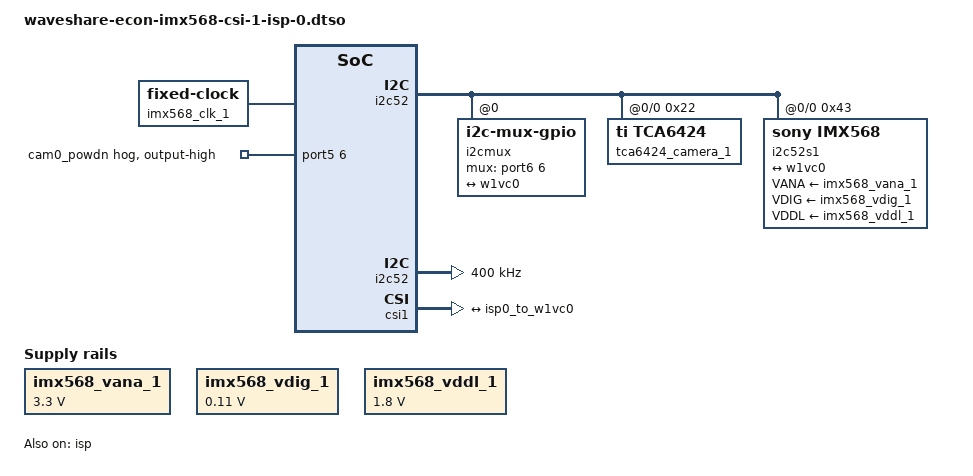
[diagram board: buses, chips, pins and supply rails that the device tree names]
// SPDX-License-Identifier: (GPL-2.0+ OR MIT)
/*
 * Copyright (c) 2025 SiMa ai
 */

/dts-v1/;
/plugin/;

&port5 {
	cam-hog0 {
		gpio-hog;
		/* Set port5 gpio6 to GPIO_ACTIVE_HIGH mode */
		gpios = <6 0>;
		output-high;
		line-name = "cam0_powdn";
	};
};

&i2c52 {
    status = "okay";
    clock-frequency = <400000>;
    #address-cells = <1>;
    #size-cells = <0>;
};

/ {
    fragment@10 {
        target-path = "/"; /* Root node of the base tree */
        __overlay__ {
			imx568_vana_1: csi1_fixedregulator@0 {
				compatible = "regulator-fixed";
				regulator-name = "imx568_vana_1";
				regulator-min-microvolt = <3300000>;
				regulator-max-microvolt = <3300000>;
				enable-active-high;
				startup-delay-us = <300000>;
				regulator-always-on;
			};
			imx568_vdig_1: csi1_fixedregulator@1 {
				compatible = "regulator-fixed";
				regulator-name = "imx568_vdig_1";
				regulator-min-microvolt = <110000>;
				regulator-max-microvolt = <110000>;
				regulator-always-on;
			};
			imx568_vddl_1: csi1_fixedregulator@2 {
				compatible = "regulator-fixed";
				regulator-name = "imx568_vddl_1";
				regulator-min-microvolt = <1800000>;
				regulator-max-microvolt = <1800000>;
				regulator-always-on;
			};
			imx568_clk_1: csi1_camera-clk {
				compatible = "fixed-clock";
				#clock-cells = <0>;
				clock-frequency = <37125000>;
			};
        };
    };

    fragment@11 {
        target-path = "/"; /* Root node of the base tree */
        __overlay__ {
			i2cmux@0 {
				compatible = "i2c-mux-gpio";
				i2c-parent = <&i2c52>;
				#address-cells = <1>;
				#size-cells = <0>;
				/* Set port6 gpio6 to GPIO_ACTIVE_LOW mode */
				mux-gpios = <&port6 6 0>;
				i2c@0 {
					reg = <0>;
					#address-cells = <1>;
					#size-cells = <0>;
					tca6424_camera_1: tca6424@22 {
						compatible = "ti,tca6424";
						gpio-controller;
						#gpio-cells = <2>;
						reg = <0x22>;
						status = "okay";
					};
					i2c52s1: sensor@43 {
						compatible = "sony,imx568";
						reg = <0x43>;
						clocks = <&imx568_clk_1>;
						clock-names = "xclk";
						VANA-supply = <&imx568_vana_1>;
						VDIG-supply = <&imx568_vdig_1>;
						VDDL-supply = <&imx568_vddl_1>;
						camera_mipi_lanes = <2>;
						cam_fw_name = "imx568_cam_fw.bin";

						i2c52p1: port@1 {
							camera_1: endpoint@0 {
								remote-endpoint = <&w1vc0>;
								data-lanes = <1 2>;
								clock-lanes = <0>;
								clock-continuous;
								link-frequencies = /bits/ 64 <450000000>;
							};
						};
					};
				};
			};
		};
	};
};

&mipi_dphy_rx1 {
	snps,dphy-frequency = <590000000>;
};

&axi_vdma_vis1 { status = "okay"; };

&csi1 {
	status = "okay";
	isp-connected = <1>;
	csi1p0: port@1 {
		reg = <1>;
		w1vc0_to_isp0: endpoint@1 {
			remote-endpoint = <&isp0_to_w1vc0>;
			data-lanes = <1 2>;
			clock-lanes = <1>;
			clock-continuous;
			link-frequencies = /bits/ 64 <450000000>;
		};
	};
};

&isp {
	status = "okay";
	ports {
		#address-cells = <1>;
		#size-cells = <0>;
		isp0p0: port@1 {
			reg = <0>;
			isp0_to_w1vc0: endpoint@0 {
				remote-endpoint = <&w1vc0_to_isp0>;
				dma-index = <1>;
			};
			w1vc0: endpoint@1 {
				remote-endpoint = <&camera_1>;
				sensor-id = <3>;
			};
		};
	};
};
